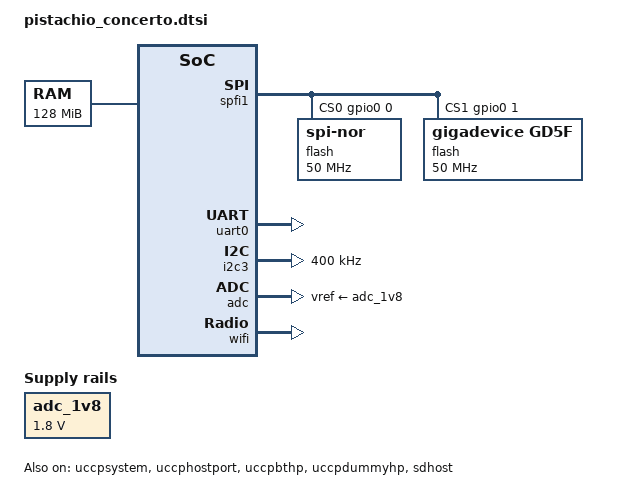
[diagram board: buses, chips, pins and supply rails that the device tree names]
/*
 * Copyright (C) 2015 Imagination Technologies Ltd.
 * Copyright (C) 2015 Google, Inc.
 *
 * This program is free software; you can redistribute it and/or modify
 * it under the terms of the GNU General Public License version 2 as
 * published by the Free Software Foundation.
 */

#include "pistachio.dtsi"

/ {
	memory {
		device_type = "memory";
		reg =  <0x00000000 0x08000000>;
	};

	adc_1v8: adc-regulator {
		compatible = "regulator-fixed";
		regulator-name = "1V8_ADC";
		regulator-min-microvolt = <1800000>;
		regulator-max-microvolt = <1800000>;
	};
};

&spfi1 {
	status = "okay";

	pinctrl-0 = <&spim1_pins>, <&spim1_quad_pins>;
	pinctrl-names = "default";
	cs-gpios = <&gpio0 0 GPIO_ACTIVE_HIGH>, <&gpio0 1 GPIO_ACTIVE_HIGH>;

	flash@0 {
		compatible = "jedec,spi-nor";
		reg = <0>;
		spi-max-frequency = <50000000>;
		linux,mtd-name = "spi-nor";
	};

	flash@1 {
		compatible = "gigadevice,gd5f";
		reg = <1>;
		spi-max-frequency = <50000000>;
		nand-on-flash-bbt;
		spi-rx-bus-width = <4>;
		#address-cells = <1>;
		#size-cells = <1>;
		linux,mtd-name = "spi-nand";
	};
};

&uccpsystem {
	status = "okay";
};

&uccphostport {
	status = "okay";
};

&uccpbthp {
	status = "okay";
};

&uccpdummyhp {
	status = "okay";
};

&uart0 {
	status = "okay";
	assigned-clock-rates = <114278400>, <1843200>;
};

&i2c3 {
	status = "okay";
	clock-frequency = <400000>;
};

&sdhost {
	status = "okay";
};

&adc {
	status = "okay";

	vref-supply = <&adc_1v8>;
};

&wifi {
       status = "okay";
       mac-address0 = [0123456789AC];
       mac-address1 = [0123456789AD];
       rf-params = [1E00000000002426292A2C2E3237393F454A52576066000000002B2C3033373A3D44474D51575A61656B6F000000002B2C3033373A3D44474D51575A61656B6F000000002B2C3033373A3D44474D51575A61656B6F000000002B2C3033373A3D44474D51575A61656B6F00000000002426292A2C2E3237393F454A52576066000000002B2C3033373A3D44474D51575A61656B6F000000002B2C3033373A3D44474D51575A61656B6F000000002B2C3033373A3D44474D51575A61656B6F000000002B2C3033373A3D44474D51575A61656B6F0808080808080808080808080808080808080808080808080808080808080808080808080808080808080808080808080808080808080808080808080808080808080808080808080808080808080808080808080808080808080808080808080808080808080808080808080808080808080808080808080808080808080808080808080808080808080808080808080808080808080808080808080808];
       num_streams = [02];
};
